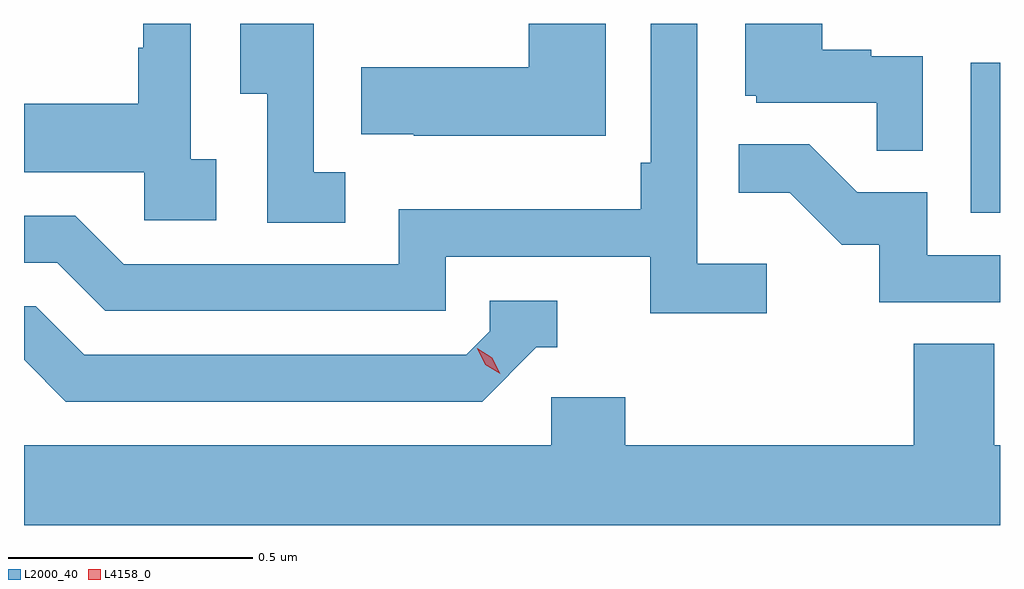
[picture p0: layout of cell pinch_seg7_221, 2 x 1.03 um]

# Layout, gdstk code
import gdstk
lib = gdstk.Library(unit=1e-6, precision=1e-09)
def R(c, l, rs):  # rectangles x0, y0, x1, y1
    for r in rs: c.add(gdstk.rectangle(r[:2], r[2:], *l))
def P(c, l, *ps):  # polygons
    for p in ps: c.add(gdstk.Polygon(p, *l))
L2000_40 = (2000, 40)
L4158_0 = (4158, 0)

pinch_seg7_221 = lib.new_cell('pinch_seg7_221')
R(pinch_seg7_221, L2000_40, [(651.764,1007.916,651.824,1008.223)])
P(pinch_seg7_221, L2000_40, [(651.666,1008.237),(651.56,1008.237),(651.56,1008.25),(651.46,1008.25),(651.46,1008.303),(651.302,1008.303),(651.302,1008.156),(651.324,1008.156),(651.324,1008.141),(651.571,1008.141),(651.571,1008.043),(651.666,1008.043)],
  [(651.346,1007.812),(651.204,1007.812),(651.204,1008.303),(651.108,1008.303),(651.108,1008.019),(651.088,1008.019),(651.088,1007.923),(650.592,1007.923),(650.592,1007.811),(650.028,1007.811),(649.929,1007.91),(649.824,1007.91),(649.824,1007.814),(649.892,1007.814),(649.991,1007.715),(650.688,1007.715),(650.688,1007.826),(651.107,1007.826),(651.107,1007.71),(651.346,1007.71)],
  [(650.482,1007.999),(650.418,1007.999),(650.418,1008.303),(650.267,1008.303),(650.267,1008.16),(650.322,1008.16),(650.322,1007.896),(650.482,1007.896)],
  [(650.218,1008.026),(650.166,1008.026),(650.166,1008.303),(650.068,1008.303),(650.068,1008.254),(650.058,1008.254),(650.058,1008.139),(649.824,1008.139),(649.824,1007.999),(650.07,1007.999),(650.07,1007.901),(650.218,1007.901)],
  [(651.016,1008.303),(650.858,1008.303),(650.858,1008.214),(650.515,1008.214),(650.515,1008.077),(650.623,1008.077),(650.623,1008.074),(651.016,1008.074)],
  [(651.824,1007.829),(651.675,1007.829),(651.675,1007.958),(651.531,1007.958),(651.433,1008.056),(651.289,1008.056),(651.289,1007.957),(651.393,1007.957),(651.5,1007.85),(651.577,1007.85),(651.577,1007.733),(651.824,1007.733)],
  [(650.874,1007.64),(650.917,1007.64),(650.917,1007.736),(650.778,1007.736),(650.778,1007.673),(650.73,1007.625),(649.947,1007.625),(649.848,1007.724),(649.824,1007.724),(649.824,1007.615),(649.91,1007.529),(650.763,1007.529)],
  [(651.647,1007.648),(651.647,1007.44),(651.056,1007.44),(651.056,1007.538),(650.904,1007.538),(650.904,1007.44),(649.824,1007.44),(649.824,1007.276),(651.824,1007.276),(651.824,1007.44),(651.812,1007.44),(651.812,1007.648)])
P(pinch_seg7_221, L4158_0, [(650.8,1007.586),(650.769,1007.605),(650.753,1007.638),(650.753,1007.638),(650.753,1007.638),(650.784,1007.619),(650.8,1007.586),(650.8,1007.586)])

lib.write_gds('pinch_seg7_221.gds')
